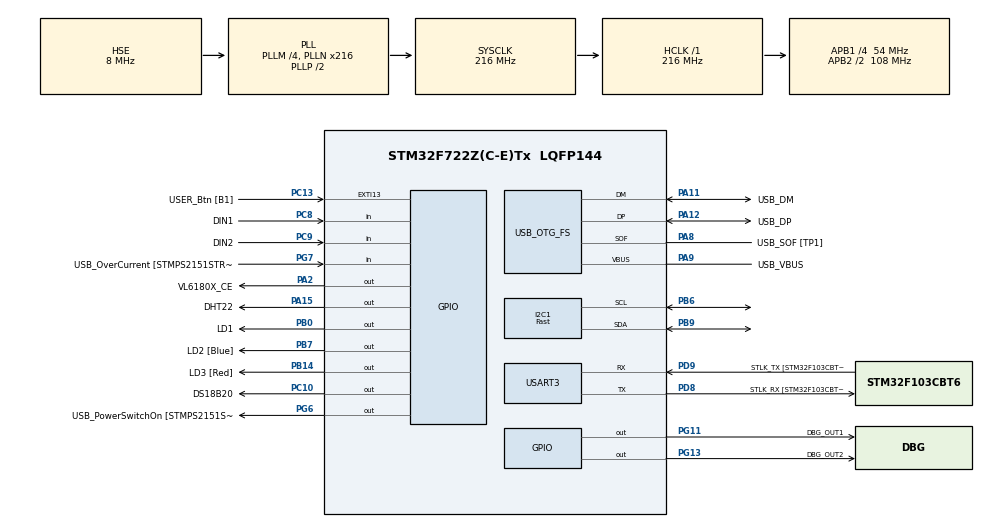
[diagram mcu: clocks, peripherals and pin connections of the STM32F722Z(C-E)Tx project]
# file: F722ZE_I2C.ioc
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I2C1.I2C_Speed_Mode=I2C_Fast
I2C1.Timing=0x6000030D
Mcu.Family=STM32F7
Mcu.Name=STM32F722Z(C-E)Tx
Mcu.Package=LQFP144
NVIC.PriorityGroup=NVIC_PRIORITYGROUP_4
NVIC.USART3_IRQn=true\:0\:0\:false\:false\:true\:true\:true
PA10.GPIO_Label=USB_ID
PA10.Signal=USB_OTG_FS_ID
PA11.GPIO_Label=USB_DM
PA11.Mode=Device_Only
PA11.Signal=USB_OTG_FS_DM
PA12.GPIO_Label=USB_DP
PA12.Mode=Device_Only
PA12.Signal=USB_OTG_FS_DP
PA13.GPIO_Label=TMS
PA13.Mode=Trace_Asynchronous_SW
PA13.Signal=SYS_JTMS-SWDIO
PA14.GPIO_Label=TCK
PA14.Mode=Trace_Asynchronous_SW
PA14.Signal=SYS_JTCK-SWCLK
PA15.GPIO_Label=DHT22
PA15.GPIO_ModeDefaultOutputPP=GPIO_MODE_OUTPUT_OD
PA15.GPIO_PuPd=GPIO_PULLUP
PA15.GPIO_Speed=GPIO_SPEED_FREQ_VERY_HIGH
PA15.Signal=GPIO_Output
PA2.GPIO_Label=VL6180X_CE
PA2.Signal=GPIO_Output
PA8.GPIO_Label=USB_SOF [TP1]
PA8.Mode=Activate_SOF_FS
PA8.Signal=USB_OTG_FS_SOF
PA9.GPIO_Label=USB_VBUS
PA9.Mode=Activate_VBUS
PA9.Signal=USB_OTG_FS_VBUS
PB0.GPIO_Label=LD1
PB0.Signal=GPIO_Output
PB14.GPIO_Label=LD3 [Red]
PB14.Signal=GPIO_Output
PB3.GPIO_Label=SWO
PB3.Mode=Trace_Asynchronous_SW
PB3.Signal=SYS_JTDO-SWO
PB6.Mode=I2C
PB6.Signal=I2C1_SCL
PB7.GPIO_Label=LD2 [Blue]
PB7.Signal=GPIO_Output
PB9.Mode=I2C
PB9.Signal=I2C1_SDA
PC10.GPIO_Label=DS18B20
PC10.GPIO_PuPd=GPIO_PULLUP
PC10.GPIO_Speed=GPIO_SPEED_FREQ_VERY_HIGH
PC10.PinState=GPIO_PIN_SET
PC10.Signal=GPIO_Output
PC13.GPIO_Label=USER_Btn [B1]
PC13.Signal=GPXTI13
PC14-OSC32_IN.Mode=LSE-External-Oscillator
PC14-OSC32_IN.Signal=RCC_OSC32_IN
PC15-OSC32_OUT.Mode=LSE-External-Oscillator
PC15-OSC32_OUT.Signal=RCC_OSC32_OUT
PC8.GPIO_Label=DIN1
PC8.Signal=GPIO_Input
PC9.GPIO_Label=DIN2
PC9.Signal=GPIO_Input
PD8.GPIO_Label=STLK_RX [STM32F103CBT6_PA3]
PD8.Mode=Asynchronous
PD8.Signal=USART3_TX
PD9.GPIO_Label=STLK_TX [STM32F103CBT6_PA2]
PD9.Mode=Asynchronous
PD9.Signal=USART3_RX
PG11.GPIO_Label=DBG_OUT1
PG11.Signal=GPIO_Output
PG13.GPIO_Label=DBG_OUT2
PG13.Signal=GPIO_Output
PG6.GPIO_Label=USB_PowerSwitchOn [STMPS2151STR_EN]
PG6.Signal=GPIO_Output
PG7.GPIO_Label=USB_OverCurrent [STMPS2151STR_FAULT]
PG7.Signal=GPIO_Input
PH0-OSC_IN.GPIO_Label=MCO
PH0-OSC_IN.Mode=HSE-External-Clock-Source
PH0-OSC_IN.Signal=RCC_OSC_IN
PH1-OSC_OUT.Mode=HSE-External-Clock-Source
PH1-OSC_OUT.Signal=RCC_OSC_OUT
ProjectManager.HeapSize=0x200
ProjectManager.StackSize=0x400
ProjectManager.TargetToolchain=STM32CubeIDE
RCC.48MHZClocksFreq_Value=24000000
RCC.AHBFreq_Value=216000000
RCC.APB1CLKDivider=RCC_HCLK_DIV4
RCC.APB1Freq_Value=54000000
RCC.APB1TimFreq_Value=108000000
RCC.APB2CLKDivider=RCC_HCLK_DIV2
RCC.APB2Freq_Value=108000000
RCC.APB2TimFreq_Value=216000000
RCC.CortexFreq_Value=216000000
RCC.HCLKFreq_Value=216000000
RCC.HSE_VALUE=8000000
RCC.HSI_VALUE=16000000
RCC.PLLM=4
RCC.PLLMUL=RCC_PLL_MUL9
RCC.PLLN=216
RCC.PLLQ=9
RCC.PRESCALERUSB=RCC_USBCLKSOURCE_PLL_DIV1_5
RCC.SYSCLKFreq_VALUE=216000000
RCC.SYSCLKSource=RCC_SYSCLKSOURCE_PLLCLK
RCC.SYSCLKSourceVirtual=RCC_SYSCLKSOURCE_PLLCLK
RCC.USBFreq_Value=48000000
RCC.VCOOutputFreq_Value=432000000
TIM2.AutoReloadPreload=TIM_AUTORELOAD_PRELOAD_ENABLE
TIM2.Period=4294967294
USART3.VirtualMode-Asynchronous=VM_ASYNC
USB_OTG_FS.VirtualMode=Device_Only
VP_TIM2_VS_ClockSourceINT.Mode=Internal
board=NUCLEO-F722ZE

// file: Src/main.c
/* USER CODE BEGIN Header */
/**
  ******************************************************************************
  * @file           : main.c
  * @brief          : Main program body
  ******************************************************************************
  * @attention
  *
  * <h2><center>&copy; Copyright (c) 2021 STMicroelectronics.
  * All rights reserved.</center></h2>
  *
  * This software component is licensed by ST under BSD 3-Clause license,
  * the "License"; You may not use this file except in compliance with the
  * License. You may obtain a copy of the License at:
  *                        opensource.org/licenses/BSD-3-Clause
  *
  ******************************************************************************
  */
/* USER CODE END Header */
#include "main.h"
#include "i2c.h"
#include "tim.h"
#include "usart.h"
#include "usb_otg.h"
#include "gpio.h"

/* USER CODE BEGIN Includes */
#include <stdio.h>
#include "fw_app.h"
/* USER CODE END Includes */

/* USER CODE BEGIN PV */
static uint8_t      _temp = 0;
static uint8_t      _ch;
static fl_status_t  _ret;
/* USER CODE END PV */

void SystemClock_Config(void);

int main(void)
{
  /* USER CODE BEGIN 1 */
  uint8_t data = 0;
  fw_app_init();
  /* USER CODE END 1 */

  /* MCU Configuration--------------------------------------------------------*/

  /* Reset of all peripherals, Initializes the Flash interface and the Systick. */
  HAL_Init();

  /* Configure the system clock */
  SystemClock_Config();

  /* Initialize all configured peripherals */
  MX_GPIO_Init();
  MX_USART3_UART_Init();
  MX_USB_OTG_FS_PCD_Init();
  MX_TIM2_Init();
  MX_I2C1_Init();
  /* USER CODE BEGIN 2 */
  fw_app_hw_init();
  HAL_GPIO_WritePin(VL6180X_CE_GPIO_Port, VL6180X_CE_Pin, GPIO_PIN_RESET);
  HAL_Delay(10);
  HAL_GPIO_WritePin(VL6180X_CE_GPIO_Port, VL6180X_CE_Pin, GPIO_PIN_SET);
  HAL_Delay(1);
  printf("Main starting.\r\n");

  fl_i2c_read_byte(&g_app.i2c, 0x52, 0, &data);
  printf("Data : 0x%x\r\n", data);
  /* USER CODE END 2 */

  /* Infinite loop */
  /* USER CODE BEGIN WHILE */
  while (1)
  {
    _temp = fl_q_count(&g_app.proto_mgr.q);
    if (_temp > 0)
    {
      for (int i = 0; i < _temp; i++)
      {
        fl_q_pop(&g_app.proto_mgr.q, &_ch);
        _ret = fl_txt_msg_parser_parse_command(&g_app.proto_mgr.parser_handle, _ch, NULL);
      }
    }
    /* USER CODE END WHILE */

  }
}

void SystemClock_Config(void)
{
  RCC_OscInitTypeDef RCC_OscInitStruct = {0};
  RCC_ClkInitTypeDef RCC_ClkInitStruct = {0};
  RCC_PeriphCLKInitTypeDef PeriphClkInitStruct = {0};

  /** Configure LSE Drive Capability
  */
  HAL_PWR_EnableBkUpAccess();
  /** Configure the main internal regulator output voltage
  */
  __HAL_RCC_PWR_CLK_ENABLE();
  __HAL_PWR_VOLTAGESCALING_CONFIG(PWR_REGULATOR_VOLTAGE_SCALE1);
  /** Initializes the RCC Oscillators according to the specified parameters
  * in the RCC_OscInitTypeDef structure.
  */
  RCC_OscInitStruct.OscillatorType = RCC_OSCILLATORTYPE_HSE;
  RCC_OscInitStruct.HSEState = RCC_HSE_BYPASS;
  RCC_OscInitStruct.PLL.PLLState = RCC_PLL_ON;
  RCC_OscInitStruct.PLL.PLLSource = RCC_PLLSOURCE_HSE;
  RCC_OscInitStruct.PLL.PLLM = 4;
  RCC_OscInitStruct.PLL.PLLN = 216;
  RCC_OscInitStruct.PLL.PLLP = RCC_PLLP_DIV2;
  RCC_OscInitStruct.PLL.PLLQ = 9;
  if (HAL_RCC_OscConfig(&RCC_OscInitStruct) != HAL_OK)
  {
    Error_Handler();
  }
  /** Activate the Over-Drive mode
  */
  if (HAL_PWREx_EnableOverDrive() != HAL_OK)
  {
    Error_Handler();
  }
  /** Initializes the CPU, AHB and APB buses clocks
  */
  RCC_ClkInitStruct.ClockType = RCC_CLOCKTYPE_HCLK|RCC_CLOCKTYPE_SYSCLK
                              |RCC_CLOCKTYPE_PCLK1|RCC_CLOCKTYPE_PCLK2;
  RCC_ClkInitStruct.SYSCLKSource = RCC_SYSCLKSOURCE_PLLCLK;
  RCC_ClkInitStruct.AHBCLKDivider = RCC_SYSCLK_DIV1;
  RCC_ClkInitStruct.APB1CLKDivider = RCC_HCLK_DIV4;
  RCC_ClkInitStruct.APB2CLKDivider = RCC_HCLK_DIV2;

  if (HAL_RCC_ClockConfig(&RCC_ClkInitStruct, FLASH_LATENCY_7) != HAL_OK)
  {
    Error_Handler();
  }
  PeriphClkInitStruct.PeriphClockSelection = RCC_PERIPHCLK_USART3|RCC_PERIPHCLK_I2C1
                              |RCC_PERIPHCLK_CLK48;
  PeriphClkInitStruct.Usart3ClockSelection = RCC_USART3CLKSOURCE_PCLK1;
  PeriphClkInitStruct.I2c1ClockSelection = RCC_I2C1CLKSOURCE_PCLK1;
  PeriphClkInitStruct.Clk48ClockSelection = RCC_CLK48SOURCE_PLL;
  if (HAL_RCCEx_PeriphCLKConfig(&PeriphClkInitStruct) != HAL_OK)
  {
    Error_Handler();
  }
}

/* USER CODE BEGIN 4 */
void HAL_UART_RxCpltCallback(UART_HandleTypeDef *huart)
{
  if (huart == g_app.proto_mgr.uart_handle)
  {
    fl_q_push(&g_app.proto_mgr.q, g_app.proto_mgr.rx_buf[0]);
    FW_APP_UART_RCV_IT(g_app.proto_mgr.uart_handle, g_app.proto_mgr.rx_buf, 1);
  }
}

// Using Printf Debugging, LIVE expressions and SWV Trace in CubeIDE || STM32 || ITM || SWV
// https://www.youtube.com/watch?v=sPzQ5CniWtw
int _write(int file, char *ptr, int len)
{
  int DataIdx;

  for (DataIdx = 0; DataIdx < len; DataIdx++)
  {
    ITM_SendChar((*ptr++));
  }
  return len;
}
/* USER CODE END 4 */

void Error_Handler(void)
{
  __disable_irq();
  while (1)
  {
  }
}

/************************ (C) COPYRIGHT STMicroelectronics *****END OF FILE****/
